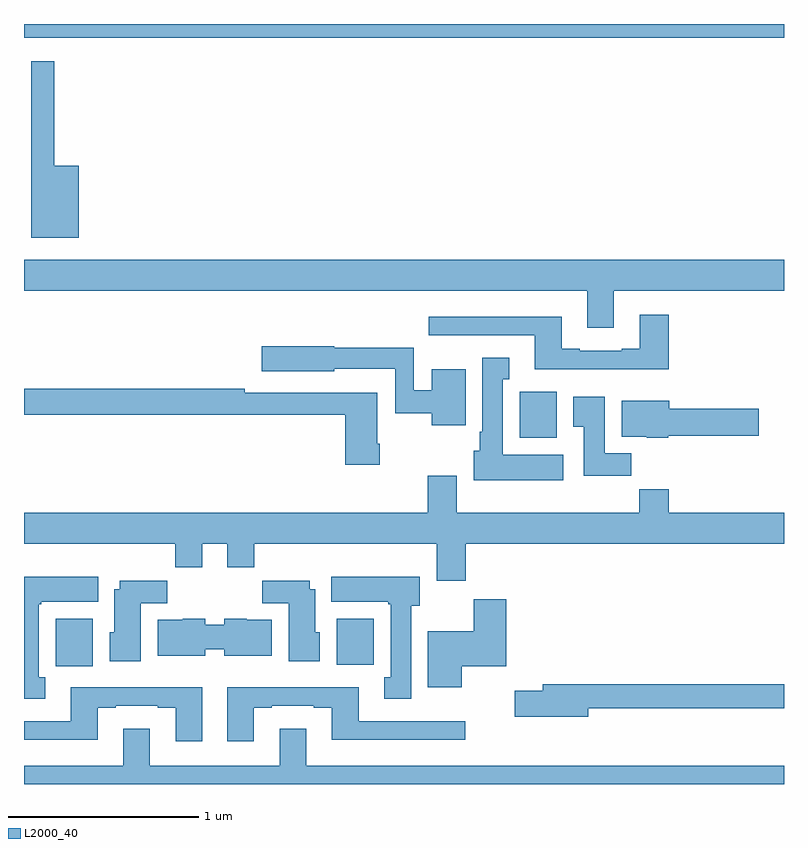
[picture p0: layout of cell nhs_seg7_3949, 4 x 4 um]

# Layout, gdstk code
import gdstk
lib = gdstk.Library(unit=1e-6, precision=1e-09)
def R(c, l, rs):  # rectangles x0, y0, x1, y1
    for r in rs: c.add(gdstk.rectangle(r[:2], r[2:], *l))
def P(c, l, *ps):  # polygons
    for p in ps: c.add(gdstk.Polygon(p, *l))
L2000_40 = (2000, 40)

nhs_seg7_3949 = lib.new_cell('nhs_seg7_3949')
R(nhs_seg7_3949, L2000_40, [(361.167,1018.62,361.363,1018.87), (362.645,1018.628,362.842,1018.87), (363.608,1019.822,363.805,1020.064), (361,1021.928,365,1022)])
P(nhs_seg7_3949, L2000_40, [(361.288,1021.255),(361.159,1021.255),(361.159,1021.804),(361.037,1021.804),(361.037,1020.875),(361.288,1020.875)],
  [(364.105,1020.596),(365,1020.596),(365,1020.76),(361,1020.76),(361,1020.596),(363.965,1020.596),(363.965,1020.402),(364.105,1020.402)],
  [(364.394,1020.469),(364.241,1020.469),(364.241,1020.292),(364.145,1020.292),(364.145,1020.279),(363.925,1020.279),(363.925,1020.292),(363.829,1020.292),(363.829,1020.46),(363.129,1020.46),(363.129,1020.363),(363.689,1020.363),(363.689,1020.182),(364.394,1020.182)],
  [(363.325,1020.184),(363.146,1020.184),(363.146,1020.073),(363.051,1020.073),(363.051,1020.295),(362.634,1020.295),(362.634,1020.303),(362.25,1020.303),(362.25,1020.173),(362.634,1020.173),(362.634,1020.186),(362.955,1020.186),(362.955,1019.952),(363.146,1019.952),(363.146,1019.888),(363.325,1019.888)],
  [(363.838,1019.734),(363.52,1019.734),(363.52,1020.131),(363.553,1020.131),(363.553,1020.244),(363.413,1020.244),(363.413,1019.854),(363.398,1019.854),(363.398,1019.754),(363.368,1019.754),(363.368,1019.6),(363.838,1019.6)],
  [(362.873,1019.791),(362.86,1019.791),(362.86,1020.06),(362.162,1020.06),(362.162,1020.08),(361,1020.08),(361,1019.944),(362.69,1019.944),(362.69,1019.679),(362.873,1019.679)],
  [(364.196,1019.74),(364.057,1019.74),(364.057,1020.037),(363.89,1020.037),(363.89,1019.881),(363.947,1019.881),(363.947,1019.622),(364.196,1019.622)],
  [(364.392,1019.833),(364.867,1019.833),(364.867,1019.975),(364.396,1019.975),(364.396,1020.016),(364.145,1020.016),(364.145,1019.828),(364.278,1019.828),(364.278,1019.822),(364.392,1019.822)],
  [(363.326,1019.264),(365,1019.264),(365,1019.428),(364.394,1019.428),(364.394,1019.552),(364.237,1019.552),(364.237,1019.428),(363.277,1019.428),(363.277,1019.623),(363.125,1019.623),(363.125,1019.428),(361,1019.428),(361,1019.264),(361.795,1019.264),(361.795,1019.14),(361.939,1019.14),(361.939,1019.264),(362.069,1019.264),(362.069,1019.14),(362.213,1019.14),(362.213,1019.264),(363.173,1019.264),(363.173,1019.07),(363.326,1019.07)],
  [(361.111,1018.561),(361.078,1018.561),(361.078,1018.945),(361.092,1018.945),(361.092,1018.958),(361.39,1018.958),(361.39,1019.092),(361,1019.092),(361,1018.449),(361.111,1018.449)],
  [(363.037,1018.938),(363.082,1018.938),(363.082,1019.092),(362.618,1019.092),(362.618,1018.958),(362.917,1018.958),(362.917,1018.945),(362.93,1018.945),(362.93,1018.562),(362.897,1018.562),(362.897,1018.449),(363.037,1018.449)],
  [(361.615,1018.952),(361.754,1018.952),(361.754,1019.071),(361.505,1019.071),(361.505,1019.026),(361.475,1019.026),(361.475,1018.8),(361.451,1018.8),(361.451,1018.646),(361.615,1018.646)],
  [(362.557,1018.8),(362.533,1018.8),(362.533,1019.026),(362.503,1019.026),(362.503,1019.071),(362.254,1019.071),(362.254,1018.952),(362.393,1018.952),(362.393,1018.646),(362.557,1018.646)],
  [(363.304,1018.619),(363.539,1018.619),(363.539,1018.972),(363.368,1018.972),(363.368,1018.804),(363.125,1018.804),(363.125,1018.508),(363.304,1018.508)],
  [(361.954,1018.709),(362.054,1018.709),(362.054,1018.676),(362.305,1018.676),(362.305,1018.864),(362.172,1018.864),(362.172,1018.87),(362.054,1018.87),(362.054,1018.839),(361.954,1018.839),(361.954,1018.87),(361.836,1018.87),(361.836,1018.864),(361.703,1018.864),(361.703,1018.676),(361.954,1018.676)],
  [(363.97,1018.398),(365,1018.398),(365,1018.526),(363.731,1018.526),(363.731,1018.49),(363.582,1018.49),(363.582,1018.355),(363.97,1018.355)],
  [(362.209,1018.401),(362.305,1018.401),(362.305,1018.413),(362.525,1018.413),(362.525,1018.401),(362.621,1018.401),(362.621,1018.232),(363.322,1018.232),(363.322,1018.329),(362.761,1018.329),(362.761,1018.51),(362.069,1018.51),(362.069,1018.224),(362.209,1018.224)],
  [(361.939,1018.51),(361.247,1018.51),(361.247,1018.329),(361,1018.329),(361,1018.232),(361.387,1018.232),(361.387,1018.401),(361.483,1018.401),(361.483,1018.413),(361.703,1018.413),(361.703,1018.401),(361.799,1018.401),(361.799,1018.224),(361.939,1018.224)],
  [(365,1018.096),(362.485,1018.096),(362.485,1018.291),(362.345,1018.291),(362.345,1018.096),(361.663,1018.096),(361.663,1018.291),(361.523,1018.291),(361.523,1018.096),(361,1018.096),(361,1018),(365,1018)])

lib.write_gds('nhs_seg7_3949.gds')
